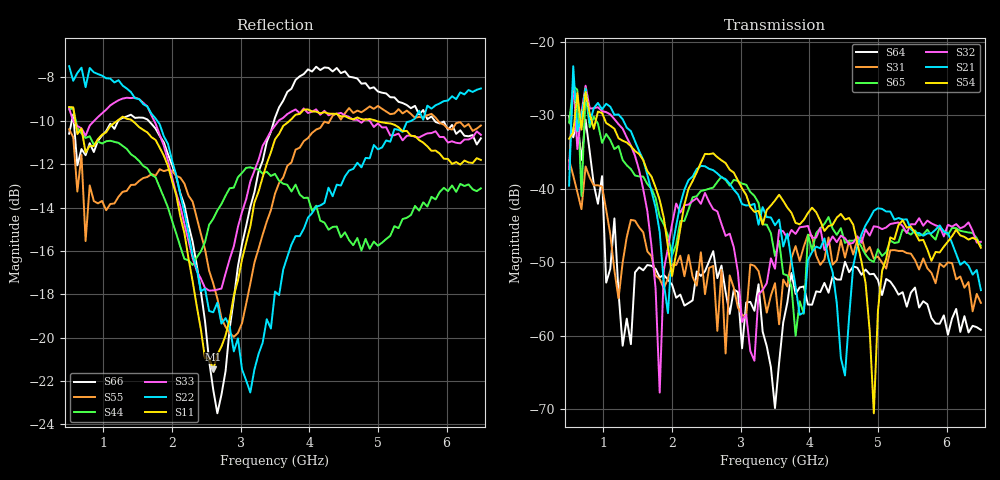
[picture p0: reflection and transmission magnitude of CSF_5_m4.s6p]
!Keysight Technologies,M9804A,MY58100912,A.14.10.03
!Date: Thursday, April 27, 2023 10:28:33
!Correction: S11(C  6-Port  )
!S12(C  6-Port  )
!S13(C  6-Port  )
!S14(C  6-Port  )
!S15(C  6-Port  )
!S16(C  6-Port  )
!S21(C  6-Port  )
!S22(C  6-Port  )
!S23(C  6-Port  )
!S24(C  6-Port  )
!S25(C  6-Port  )
!S26(C  6-Port  )
!S31(C  6-Port  )
!S32(C  6-Port  )
!S33(C  6-Port  )
!S34(C  6-Port  )
!S35(C  6-Port  )
!S36(C  6-Port  )
!S41(C  6-Port  )
!S42(C  6-Port  )
!S43(C  6-Port  )
!S44(C  6-Port  )
!S45(C  6-Port  )
!S46(C  6-Port  )
!S51(C  6-Port  )
!S52(C  6-Port  )
!S53(C  6-Port  )
!S54(C  6-Port  )
!S55(C  6-Port  )
!S56(C  6-Port  )
!S61(C  6-Port  )
!S62(C  6-Port  )
!S63(C  6-Port  )
!S64(C  6-Port  )
!S65(C  6-Port  )
!S66(C  6-Port  )
!S6P File: Measurement: :
# Hz S  RI  R 50
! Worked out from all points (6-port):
!   101 points, 500 MHz to 6.5 GHz, reference 50 ohm
!   strongest paths, dB at 500 MHz, 2 GHz, 3.5 GHz, 5 GHz, 6.5 GHz:
!     S54: -33.2, -51.9, -41.6, -56.6, -48.0
!     S21: -39.6, -48.1, -45.0, -42.7, -53.8
!     S32: -37.3, -44.8, -50.9, -45.2, -47.2
!     S65: -31.0, -49.0, -49.2, -48.2, -47.8
!     S31: -36.1, -50.3, -52.8, -49.2, -55.5
!     S64: -30.2, -53.1, -69.8, -52.4, -59.2
!   lowest |S11| = -21.5 dB at 2.6 GHz (marker M1), VSWR 1.18, Z = 42.5 + j2.18 ohm
!   |S11| at or under -10 dB: 590.2 MHz to 1.203 GHz (612.5 MHz wide, 68.3 % of centre); 1.421 GHz to 3.713 GHz (2.292 GHz wide, 89.3 % of centre); 4.971 GHz to end of sweep
